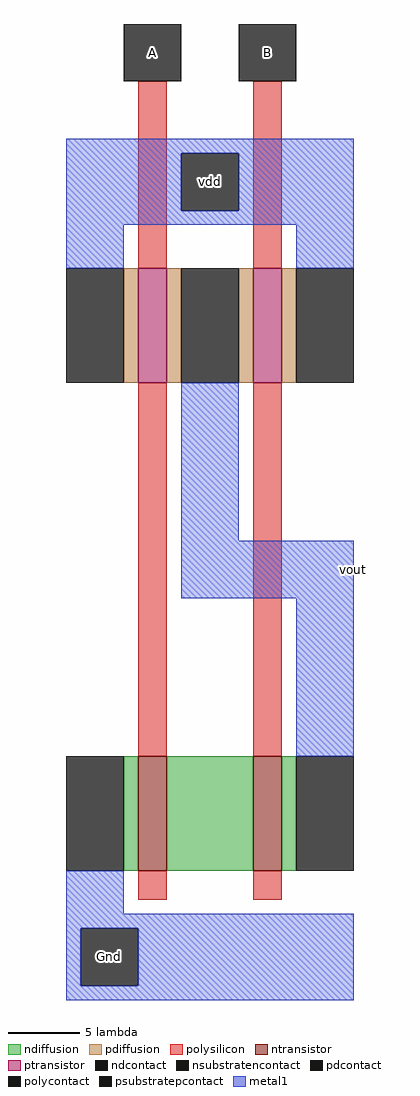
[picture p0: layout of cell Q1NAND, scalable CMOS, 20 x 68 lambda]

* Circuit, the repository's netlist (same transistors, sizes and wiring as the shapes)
* SPICE3 file created from NAND.ext - technology: scmos

.include bsim.txt
.option scale=0.09u
VDD vdd 0 DC 1.8
VA A 0 dc 1 pulse (0 1.8 190p 10p 10p 190p 400p)
VB B 0 dc 1 pulse (0 1.8 190p 10p 10p 190p 400p)
M1000 vout A vdd Vdd pfet w=8 l=2
+  ad=48 pd=28 as=80 ps=52
M1001 vdd B vout Vdd pfet w=8 l=2
+  ad=0 pd=0 as=0 ps=0
M1002 vout B a_7_9# Gnd nfet w=8 l=2
+  ad=40 pd=26 as=48 ps=28
M1003 a_7_9# A Gnd Gnd nfet w=8 l=2
+  ad=0 pd=0 as=40 ps=26
.tran 1p 2n

.control
run
set xbrushwidth = 2
plot A B+2 vout+4
.endc
.end

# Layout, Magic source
magic
tech scmos
<< polysilicon >>
rect 5 51 7 64
rect 13 51 15 64
rect 5 17 7 43
rect 13 17 15 43
rect 5 7 7 9
rect 13 7 15 9
<< ndiffusion >>
rect 4 9 5 17
rect 7 9 13 17
rect 15 9 16 17
<< pdiffusion >>
rect 4 43 5 51
rect 7 43 8 51
rect 12 43 13 51
rect 15 43 16 51
<< metal1 >>
rect 0 59 20 60
rect 0 55 8 59
rect 12 55 20 59
rect 0 54 20 55
rect 0 51 4 54
rect 16 51 20 54
rect 8 32 12 43
rect 8 28 20 32
rect 16 17 20 28
rect 0 6 4 9
rect 0 5 20 6
rect 0 1 1 5
rect 5 1 20 5
rect 0 0 20 1
<< ntransistor >>
rect 5 9 7 17
rect 13 9 15 17
<< ptransistor >>
rect 5 43 7 51
rect 13 43 15 51
<< polycontact >>
rect 4 64 8 68
rect 12 64 16 68
<< ndcontact >>
rect 0 9 4 17
rect 16 9 20 17
<< pdcontact >>
rect 0 43 4 51
rect 8 43 12 51
rect 16 43 20 51
<< psubstratepcontact >>
rect 1 1 5 5
<< nsubstratencontact >>
rect 8 55 12 59
<< labels >>
rlabel nsubstratencontact 10 57 10 57 1 vdd
rlabel psubstratepcontact 3 3 3 3 2 Gnd
rlabel polycontact 6 66 6 66 5 A
rlabel polycontact 14 66 14 66 5 B
rlabel metal1 20 30 20 30 7 vout
<< end >>
